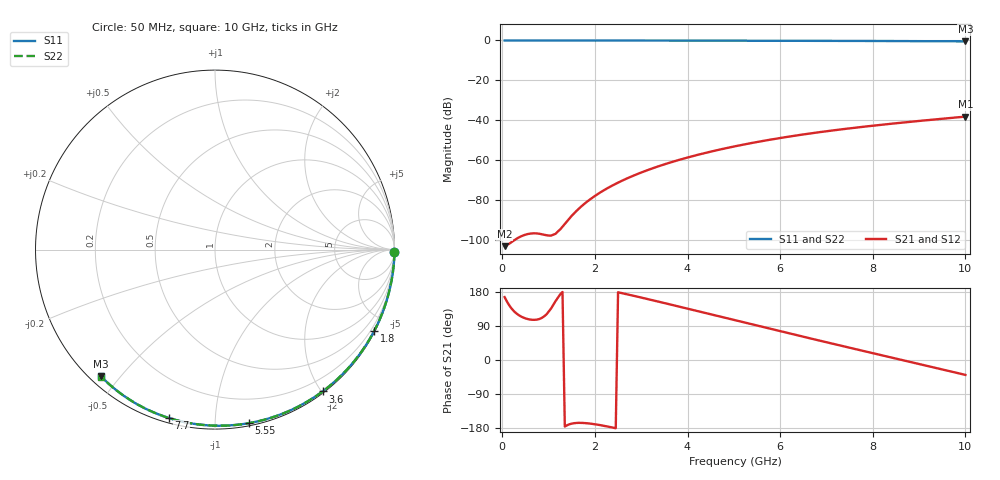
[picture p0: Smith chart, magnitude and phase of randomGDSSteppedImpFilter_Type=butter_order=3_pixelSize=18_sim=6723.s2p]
! freq	dB(S11)	phase(S11)	dB(S12)	phase(S12)
!  dB(S21)	phase(S21)	dB(S22)	phase(S22)
!S-par simulation data
#  GHz  S  DB  R 50
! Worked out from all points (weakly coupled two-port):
!   200 points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, 50 MHz to 10 GHz, reference 50 ohm
!   highest |S21| = -38.25 dB at 10 GHz (marker M1); lowest = -103.3 dB at 50 MHz (marker M2)
!   lowest |S11| = -0.4 dB at 10 GHz (marker M3), VSWR 38.89, Z = 1.54 - j22.3 ohm
!   |S11| at or under -10 dB: nowhere
!   |S22| runs from -0.4 to 0.0 dB; largest |S21 - S12| = 0
!   S11 on the Smith chart (normalised r, x): 50 MHz: open; 1.8 GHz: 0.04, -4.16; 3.6 GHz: 0.02, -2.01; 5.55 GHz: 0.02, -1.21; 7.7 GHz: 0.02, -0.76; 10 GHz: 0.03, -0.45
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0.05  -0.00 -0.8  -103.30 165.9  -103.30 165.9  -0.00 -0.8
0.9  -0.02 -13.6  -97.55 114.9  -97.55 114.9  -0.02 -13.6
1.75  -0.03 -26.3  -82.46 -166.1  -82.46 -166.1  -0.03 -26.3
1.8  -0.03 -27.0  -81.50 -166.6  -81.50 -166.6  -0.03 -27.0
1.85  -0.04 -27.8  -80.60 -167.1  -80.60 -167.1  -0.04 -27.8
1.9  -0.04 -28.5  -79.72 -167.8  -79.72 -167.8  -0.04 -28.5
2.05  -0.04 -30.7  -77.30 -170.5  -77.30 -170.5  -0.04 -30.7
2.25  -0.04 -33.6  -74.46 -175.0  -74.46 -175.0  -0.04 -33.6
2.45  -0.05 -36.5  -71.96 -180.0  -71.96 -180.0  -0.05 -36.5
2.65  -0.05 -39.4  -69.72 174.6  -69.72 174.6  -0.05 -39.4
3  -0.06 -44.4  -66.31 164.8  -66.31 164.8  -0.06 -44.4
3.4  -0.07 -50.1  -62.97 153.2  -62.97 153.2  -0.07 -50.0
3.6  -0.07 -52.8  -61.48 147.4  -61.48 147.4  -0.07 -52.8
4.3  -0.09 -62.5  -56.96 126.6  -56.96 126.6  -0.09 -62.4
5.05  -0.11 -72.4  -53.02 104.4  -53.02 104.4  -0.11 -72.4
5.55  -0.13 -78.9  -50.78 89.5  -50.78 89.5  -0.13 -78.9
6.1  -0.15 -85.9  -48.61 73.2  -48.61 73.2  -0.15 -85.9
6.7  -0.18 -93.4  -46.53 55.6  -46.53 55.6  -0.18 -93.3
7.7  -0.24 -105.4  -43.59 26.6  -43.59 26.6  -0.24 -105.4
8.35  -0.29 -113.1  -41.94 8.2  -41.94 8.2  -0.29 -113.0
9.15  -0.36 -122.3  -40.08 -14.5  -40.08 -14.5  -0.36 -122.3
10  -0.45 -131.9  -38.25 -39.4  -38.25 -39.4  -0.44 -131.9
